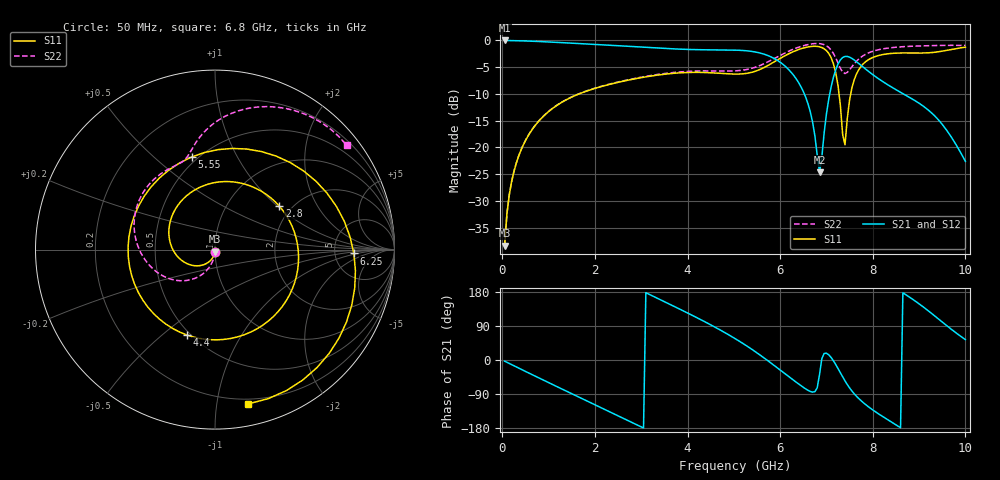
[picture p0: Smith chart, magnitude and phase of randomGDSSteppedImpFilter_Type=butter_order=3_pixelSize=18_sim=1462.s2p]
! freq	dB(S11)	phase(S11)	dB(S12)	phase(S12)
!  dB(S21)	phase(S21)	dB(S22)	phase(S22)
!S-par simulation data
#  GHz  S  DB  R 50
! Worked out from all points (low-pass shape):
!   200 points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, 50 MHz to 10 GHz, reference 50 ohm
!   highest |S21| = -0.01 dB at 50 MHz (marker M1); lowest = -24.6 dB at 6.85 GHz (marker M2)
!   |S21| within 3 dB of the highest: start of sweep to 5.784 GHz; 7.397 GHz to 7.454 GHz (56.91 MHz wide, 0.766 % of centre)
!   lowest |S11| = -38.4 dB at 50 MHz (marker M3), VSWR 1.02, Z = 49.9 - j1.2 ohm
!   |S11| at or under -10 dB: start of sweep to 1.656 GHz; 7.271 GHz to 7.524 GHz (253.1 MHz wide, 3.42 % of centre)
!   |S22| runs from -38.5 to -0.6 dB; largest |S21 - S12| = 0
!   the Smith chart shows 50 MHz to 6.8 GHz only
!   S11 on the Smith chart (normalised r, x): 50 MHz: 1.00, -0.02; 2.8 GHz: 1.73, +1.03; 4.4 GHz: 0.48, -0.61; 5.55 GHz: 0.46, +0.67; 6.25 GHz: 7.75, -0.84; 6.8 GHz: 0.16, -1.22
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0.05  -38.36 -93.5  -0.01 -3.1  -0.01 -3.1  -38.45 -91.6
0.2  -26.45 -106.2  -0.03 -12.1  -0.03 -12.1  -26.40 -98.4
0.5  -18.73 -130.7  -0.10 -30.1  -0.10 -30.1  -18.68 -110.3
1.75  -9.69 126.0  -0.63 -103.5  -0.63 -103.5  -9.65 -154.3
2.8  -7.28 34.1  -1.14 -164.8  -1.14 -164.8  -7.20 175.4
3.4  -6.42 -18.4  -1.45 159.9  -1.45 159.9  -6.30 157.7
4.4  -6.01 -108.1  -1.75 99.2  -1.75 99.2  -5.69 127.1
5.05  -6.30 178.4  -1.81 54.8  -1.81 54.8  -5.68 111.3
5.55  -5.48 104.1  -2.32 14.5  -2.32 14.5  -4.73 102.5
6.25  -2.23 -1.6  -6.08 -49.7  -6.08 -49.7  -1.75 75.4
6.7  -1.11 -63.1  -15.25 -84.7  -15.25 -84.7  -0.63 46.2
6.8  -1.12 -77.9  -21.40 -73.5  -21.40 -73.5  -0.58 38.4
6.85  -1.19 -85.8  -24.62 -38.5  -24.62 -38.5  -0.60 34.3
7.15  -4.36 -147.9  -6.90 -2.0  -6.90 -2.0  -2.43 7.2
7.4  -19.50 45.0  -3.00 -55.1  -3.00 -55.1  -6.18 14.1
7.55  -8.85 -37.1  -3.37 -81.8  -3.37 -81.8  -4.90 23.1
7.85  -3.95 -86.8  -5.39 -118.1  -5.39 -118.1  -2.57 12.9
8.35  -2.47 -141.4  -8.43 -159.6  -8.43 -159.6  -1.41 -12.2
8.85  -2.35 160.3  -10.93 161.2  -10.93 161.2  -1.08 -35.5
9.3  -2.25 90.7  -13.79 120.1  -13.79 120.1  -0.96 -55.2
9.65  -1.77 31.1  -17.46 85.5  -17.46 85.5  -0.92 -70.5
10  -1.27 -19.3  -22.59 53.9  -22.59 53.9  -0.94 -85.9
